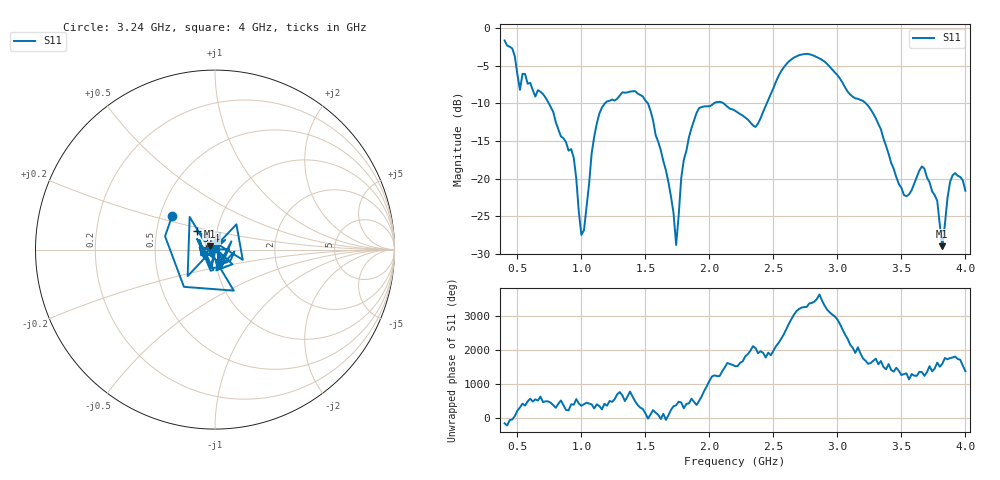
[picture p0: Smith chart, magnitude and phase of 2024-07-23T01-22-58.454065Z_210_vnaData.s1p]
!Created with skrf (http://scikit-rf.org).
# Hz S RI R 50.0
!freq ReS11 ImS11
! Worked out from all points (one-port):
!   181 points, 400 MHz to 4 GHz, reference 50 ohm
!   lowest |S11| = -29.0 dB at 3.82 GHz (marker M1), VSWR 1.07, Z = 47.1 + j1.87 ohm
!   |S11| at or under -10 dB: 745.1 MHz to 1.185 GHz (439.9 MHz wide, 45.6 % of centre); 1.519 GHz to 2.036 GHz (516.1 MHz wide, 29 % of centre); 3.222 GHz to end of sweep (the widest 3 of 4)
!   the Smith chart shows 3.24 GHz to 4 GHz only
!   S11 on the Smith chart (normalised r, x): 3.24 GHz: 0.58, +0.24; 3.4 GHz: 0.80, +0.17; 4 GHz: 1.03, -0.17
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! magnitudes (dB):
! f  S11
! 400 MHz  -1.7
! 480 MHz  -3.8
! 520 MHz  -8.2
! 560 MHz  -6.1
! 860 MHz  -14.7
! 940 MHz  -17.2
! 1 GHz  -27.5
! 1.14 GHz  -11.4
! 1.3 GHz  -9.0
! 1.52 GHz  -10.0
! 1.68 GHz  -20.5
! 1.74 GHz  -28.8
! 1.76 GHz  -24.9
! 1.8 GHz  -17.5
! 1.92 GHz  -10.6
! 2.2 GHz  -11.0
! 2.36 GHz  -13.2
! 2.66 GHz  -3.9
! 2.88 GHz  -4.2
! 3.1 GHz  -8.8
! 3.24 GHz  -10.3
! 3.4 GHz  -16.7
! 3.56 GHz  -22.1
! 3.68 GHz  -18.7
! 3.78 GHz  -23.0
! 3.82 GHz  -29.0
! 3.9 GHz  -19.6
! 4 GHz  -21.6
